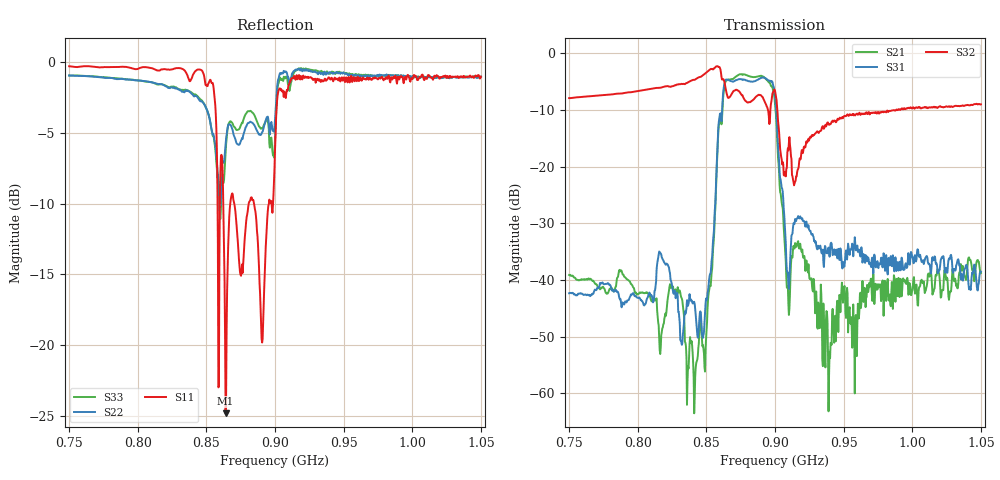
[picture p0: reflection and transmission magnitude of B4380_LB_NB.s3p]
! Matrix data file written by TouchstoneData, EPCOS AG
! FILENAME: "LY65A_X34Y34_F2_NB.s3p_newformat"
! COMMENT: "(LY65A_X34Y34_F2_NB.s3p) Epcos AG 12/3/2010"
! INFO: nport=3, nfreq=801
! DATE: "Wed Jun 15 09:02:24 2011"
! USER: "Michael Schemies"
! port | pin | signal
!  1  |  4  |  in
!  2  |  6  |  out
!  3  |  7  |  out
# MHZ S MA R 50
! freq  magS11 angS11  magS12 angS12  magS13 angS13  ...
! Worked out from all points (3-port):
!   801 points, 750 MHz to 1.05 GHz, reference 50 ohm
!   strongest paths, dB at 750 MHz, 825 MHz, 900 MHz, 975 MHz, 1.05 GHz:
!     S32: -7.9, -5.8, -6.6, -10.3, -9.0
!     S31: -42.3, -41.0, -7.6, -37.8, -38.5
!     S21: -39.1, -41.3, -8.9, -40.7, -38.8
!   lowest |S11| = -24.8 dB at 864 MHz (marker M1), VSWR 1.12, Z = 44.7 + j1.38 ohm
!   |S11| at or under -10 dB: 862.3 MHz to 867.4 MHz (5.069 MHz wide, 0.586 % of centre); 870.3 MHz to 880.9 MHz (10.53 MHz wide, 1.2 % of centre); 884.7 MHz to 895.5 MHz (10.84 MHz wide, 1.22 % of centre) (the widest 3 of 5)
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750  0.9654 -101.1  0.01102 31.3  0.007616 38.4
     0.01108 31.2  0.895 -36.5  0.4036 52.5
     0.007654 38.4  0.403 52.6  0.8963 -36.4
841.875  0.9275 -141.5  0.001431 81.4  0.005528 16.5
         0.001416 81.2  0.7599 -50.3  0.5892 36.4
         0.005526 17.0  0.5886 36.5  0.7681 -50.5
848.625  0.8777 -163.0  0.001716 145.5  0.004214 116.1
         0.001709 144.7  0.7067 -55.4  0.6577 31.4
         0.004188 116.6  0.6572 31.5  0.7079 -56.2
864  0.0575 164.5  0.5636 -145.3  0.5841 41.1
     0.5638 -145.4  0.5132 -20.9  0.4934 -12.8
     0.584 41.2  0.4926 -12.7  0.4808 -11.6
874.125  0.1906 93.4  0.6533 93.1  0.5944 -86.7
         0.6532 93.1  0.5111 -26.5  0.4594 -2.7
         0.5943 -86.6  0.4588 -2.6  0.5816 -23.8
885.375  0.3021 -103.2  0.6177 0.8  0.5692 176.4
         0.6176 0.8  0.5929 -25.5  0.4056 3.2
         0.569 176.6  0.4046 3.3  0.6429 -29.4
900  0.4897 17.8  0.3591 174.5  0.4183 -8.9
     0.3597 174.5  0.6259 3.8  0.4693 -35.5
     0.4179 -8.7  0.4687 -35.4  0.5327 7.8
909.375  0.8008 -37.2  0.008698 -178.8  0.01156 3.1
         0.008706 -179.2  0.8771 -18.9  0.1452 9.8
         0.01161 3.3  0.1452 9.9  0.8362 -17.9
939.75  0.8778 -76.5  0.002308 87.6  0.01608 46.1
        0.002327 86.7  0.9193 -28.8  0.2372 52.8
        0.01608 46.2  0.2368 53.1  0.9085 -29.0
1050  0.8877 -97.5  0.01203 31.7  0.01203 44.0
      0.01153 31.5  0.8857 -37.9  0.3555 46.6
      0.01186 43.9  0.355 46.8  0.8869 -37.4
